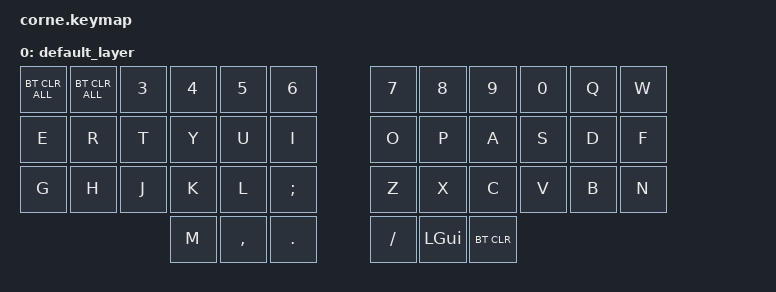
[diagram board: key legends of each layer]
/*
 * Copyright (c) 2020 The ZMK Contributors
 *
 * SPDX-License-Identifier: MIT
 */

#include <behaviors.dtsi>
#include <dt-bindings/zmk/bt.h>
#include <dt-bindings/zmk/keys.h>

/ {
    keymap {
        compatible = "zmk,keymap";

        default_layer {
            // -----------------------------------------------------------------------------------------
            // |  Q  |  W  |  E  |  R  |  T  |   |  Y  |  U   |  I  |  O  |  P  |
            // |  A  |  S  |  D  |  F  |  G  |   |  H  |  J   |  K  |  L  |  ;  |
            // |  Z  |  X  |  C  |  V  |  B  |   |  N  |  M   |  ,  |  .  |  /  |
            //             | GUI | LWR | SPC |   | ENT | RSE  | ALT |

            bindings = <
&bt BT_CLR_ALL  &bt BT_CLR_ALL  &kp N3  &kp N4  &kp N5     &kp N6      &kp N7    &kp N8    &kp N9      &kp N0  &kp Q  &kp W
&kp E           &kp R           &kp T   &kp Y   &kp U      &kp I       &kp O     &kp P     &kp A       &kp S   &kp D  &kp F
&kp G           &kp H           &kp J   &kp K   &kp L      &kp SEMI    &kp Z     &kp X     &kp C       &kp V   &kp B  &kp N
                                        &kp M   &kp COMMA  &kp DOT     &kp FSLH  &kp LGUI  &bt BT_CLR
            >;
        };
    };
};
